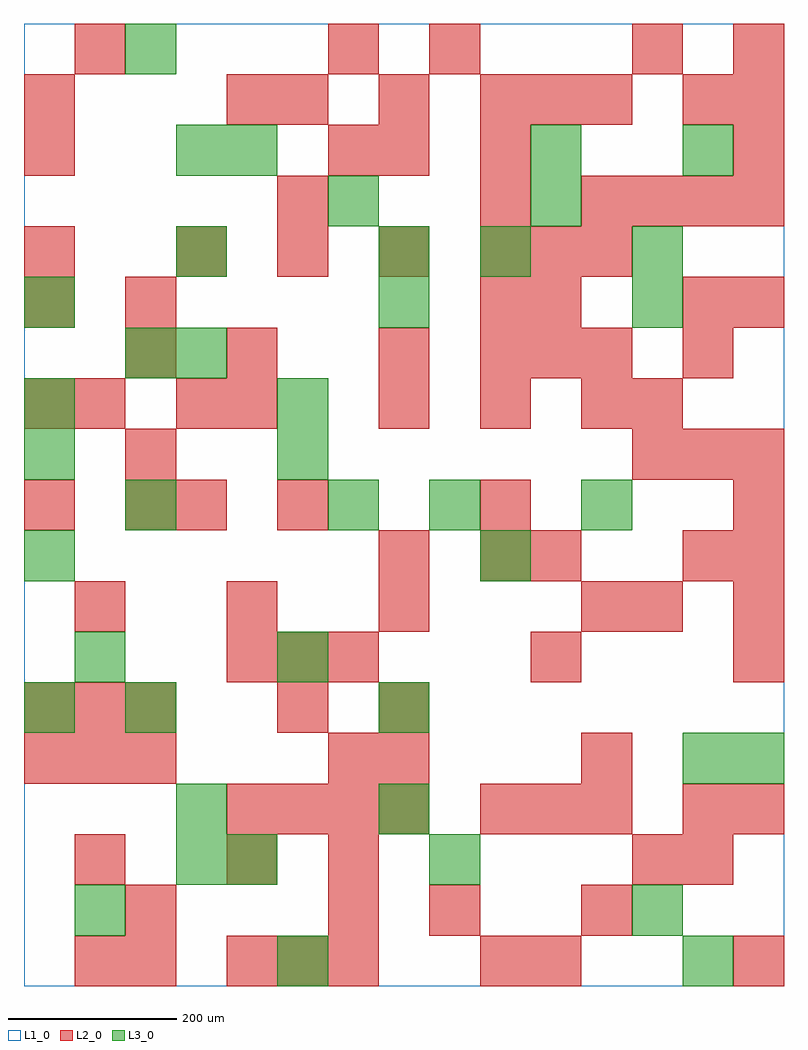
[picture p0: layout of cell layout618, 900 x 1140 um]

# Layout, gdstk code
import gdstk
lib = gdstk.Library(unit=1e-6, precision=1e-09)
def R(c, l, rs):  # rectangles x0, y0, x1, y1
    for r in rs: c.add(gdstk.rectangle(r[:2], r[2:], *l))
def A(c, l, x, y, w, h, nx, ny, dx, dy):  # array of equal rectangles
    R(c, l, [(x+i*dx, y+j*dy, x+i*dx+w, y+j*dy+h) for i in range(nx) for j in range(ny)])
L1_0 = (1, 0)
L2_0 = (2, 0)
L3_0 = (3, 0)

layout618 = lib.new_cell('layout618')
R(layout618, L1_0, [(0,0,900,1140)])
A(layout618, L2_0, 240, 0, 60, 60, 3, 2, 60, 360)
A(layout618, L2_0, 840, 0, 60, 60, 1, 3, 0, 180)
A(layout618, L2_0, 660, 60, 60, 60, 1, 3, 0, 180)
A(layout618, L2_0, 240, 180, 60, 60, 4, 1, 60, 0)
A(layout618, L2_0, 540, 180, 60, 60, 3, 2, 60, 540)
A(layout618, L2_0, 0, 240, 60, 60, 3, 2, 60, 60)
A(layout618, L2_0, 60, 420, 60, 60, 3, 1, 180, 0)
A(layout618, L2_0, 840, 420, 60, 60, 1, 3, 0, 60)
A(layout618, L2_0, 420, 480, 60, 60, 1, 3, 0, 240)
A(layout618, L2_0, 0, 540, 60, 60, 1, 3, 0, 120)
A(layout618, L2_0, 720, 600, 60, 60, 3, 1, 60, 0)
A(layout618, L2_0, 420, 660, 60, 60, 3, 1, 120, 0)
A(layout618, L2_0, 180, 840, 60, 60, 4, 1, 120, 0)
A(layout618, L2_0, 660, 900, 60, 60, 4, 1, 60, 0)
A(layout618, L2_0, 840, 960, 60, 60, 1, 3, 0, 60)
A(layout618, L2_0, 300, 1020, 60, 60, 3, 1, 120, 0)
R(layout618, L2_0, [(60,0,120,60), (120,0,180,60), (540,0,600,60), (600,0,660,60), (120,60,180,120), (360,60,420,120), (480,60,540,120), (60,120,120,180), (240,120,300,180), (360,120,420,180), (720,120,780,180), (780,120,840,180), (780,180,840,240), (360,240,420,300), (420,240,480,300), (300,300,360,360), (420,300,480,360), (600,360,660,420), (720,420,780,480), (540,480,600,540), (600,480,660,540), (780,480,840,540), (120,540,180,600), (180,540,240,600), (300,540,360,600), (540,540,600,600), (120,600,180,660), (60,660,120,720), (180,660,240,720), (240,660,300,720), (720,660,780,720), (120,720,180,780), (240,720,300,780), (780,720,840,780), (120,780,180,840), (540,780,600,840), (600,780,660,840), (780,780,840,840), (840,780,900,840), (0,840,60,900), (600,840,660,900), (660,840,720,900), (300,900,360,960), (540,900,600,960), (0,960,60,1020), (360,960,420,1020), (540,960,600,1020), (0,1020,60,1080), (240,1020,300,1080), (600,1020,660,1080), (660,1020,720,1080), (780,1020,840,1080), (60,1080,120,1140), (360,1080,420,1140), (480,1080,540,1140), (720,1080,780,1140)])
A(layout618, L3_0, 180, 720, 60, 60, 1, 3, 0, 120)
R(layout618, L3_0, [(300,0,360,60), (780,0,840,60), (60,60,120,120), (720,60,780,120), (180,120,240,180), (240,120,300,180), (480,120,540,180), (180,180,240,240), (420,180,480,240), (780,240,840,300), (840,240,900,300), (0,300,60,360), (120,300,180,360), (420,300,480,360), (60,360,120,420), (300,360,360,420), (0,480,60,540), (540,480,600,540), (120,540,180,600), (360,540,420,600), (480,540,540,600), (660,540,720,600), (0,600,60,660), (300,600,360,660), (0,660,60,720), (300,660,360,720), (120,720,180,780), (0,780,60,840), (420,780,480,840), (720,780,780,840), (420,840,480,900), (540,840,600,900), (720,840,780,900), (360,900,420,960), (600,900,660,960), (240,960,300,1020), (600,960,660,1020), (780,960,840,1020), (120,1080,180,1140)])

lib.write_gds('layout618.gds')
